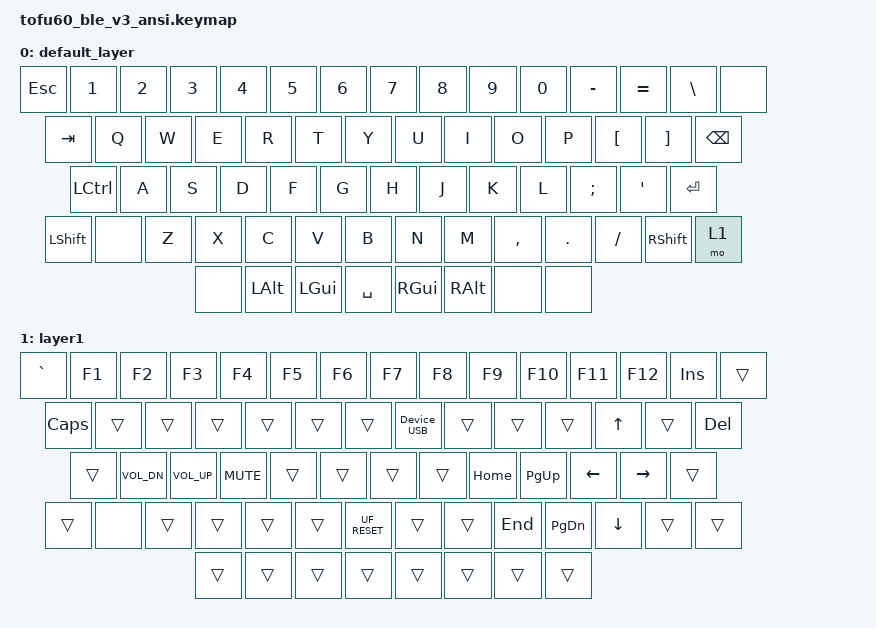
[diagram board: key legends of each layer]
/*
 * TOFU60 BLE 3.0 — ANSI 7u HHKB-style macOS layout
 * Based on openkbd/zmk-config-tofu60-ble-3.0 keyboard source.
 * Intended to REPLACE: config/boards/shields/klink_kbd/tofu60_ble_v3_ansi.keymap
 * Selected target: board klink + shield tofu60_ble_v3_ansi_7u.
 * No changes to matrix, hardware or bootloader definitions.
 *
 * ALL_KEYS index positions are fixed (15 / 14 / 13 / 14 / 8).
 * In the HHKB 7u assembly, some positions are physically unpopulated.
 * Fn+B: hold ~3 sec for bootloader; Fn+U: switch to USB output.
 * Need to restore ZMK Studio stock settings after firmware update.
 */
#include "common.keymap"
#define UF_RESET bootloader_reset 0 0
/ {
    keymap {
        compatible = "zmk,keymap";
        default_layer {
            bindings = <
                &kp ESC  &kp N1  &kp N2  &kp N3  &kp N4  &kp N5  &kp N6  &kp N7  &kp N8  &kp N9  &kp N0  &kp MINUS  &kp EQUAL  &kp BSLH  &none
                &kp TAB  &kp Q  &kp W  &kp E  &kp R  &kp T  &kp Y  &kp U  &kp I  &kp O  &kp P  &kp LBKT  &kp RBKT  &kp BSPC
                &kp LCTRL  &kp A  &kp S  &kp D  &kp F  &kp G  &kp H  &kp J  &kp K  &kp L  &kp SEMI  &kp SQT  &kp RET
                &kp LSHFT  &none  &kp Z  &kp X  &kp C  &kp V  &kp B  &kp N  &kp M  &kp COMMA  &kp DOT  &kp FSLH  &kp RSHIFT  &mo 1
                &none  &kp LALT  &kp LGUI  &kp SPACE  &kp RGUI  &kp RALT  &none  &none
            >;
        };
        layer1 {
            bindings = <
                &kp GRAVE  &kp F1  &kp F2  &kp F3  &kp F4  &kp F5  &kp F6  &kp F7  &kp F8  &kp F9  &kp F10  &kp F11  &kp F12  &kp INSERT  &trans
                &kp CLCK  &trans  &trans  &trans  &trans  &trans  &trans  &Device_USB  &trans  &trans  &trans  &kp UP  &trans  &kp DELETE
                &trans  &kp C_VOL_DN  &kp C_VOL_UP  &kp C_MUTE  &trans  &trans  &trans  &trans  &kp HOME  &kp PAGE_UP  &kp LEFT  &kp RIGHT  &trans
                &trans  &none  &trans  &trans  &trans  &trans  &UF_RESET  &trans  &trans  &kp END  &kp PAGE_DOWN  &kp DOWN  &trans  &trans
                &trans  &trans  &trans  &trans  &trans  &trans  &trans  &trans
            >;
        };
        layer2 { status = "reserved"; };
        layer3 { status = "reserved"; };
        layer4 { status = "reserved"; };
        layer5 { status = "reserved"; };
        layer6 { status = "reserved"; };
        layer7 { status = "reserved"; };
    };
};
